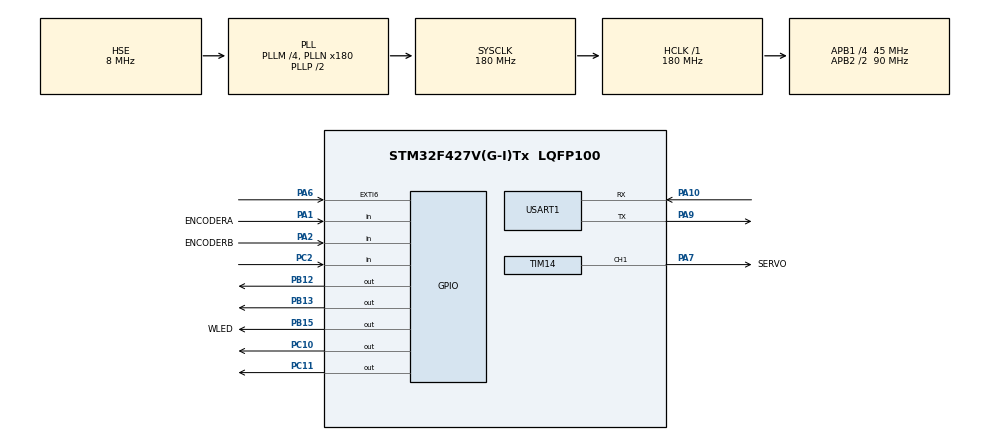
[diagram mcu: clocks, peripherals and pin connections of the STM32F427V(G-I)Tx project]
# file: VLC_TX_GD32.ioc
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Mcu.Family=STM32F4
Mcu.Name=STM32F427V(G-I)Tx
Mcu.Package=LQFP100
NVIC.EXTI9_5_IRQn=true\:2\:0\:true\:false\:true\:true\:true\:true
NVIC.PriorityGroup=NVIC_PRIORITYGROUP_4
NVIC.TIM4_IRQn=true\:0\:0\:false\:false\:true\:true\:true\:true
PA1.GPIO_Label=ENCODERA
PA1.Signal=GPIO_Input
PA10.Mode=Asynchronous
PA10.Signal=USART1_RX
PA2.GPIO_Label=ENCODERB
PA2.Signal=GPIO_Input
PA6.GPIO_ModeDefaultEXTI=GPIO_MODE_IT_RISING_FALLING
PA6.GPIO_PuPd=GPIO_PULLDOWN
PA6.Signal=GPXTI6
PA7.GPIO_Label=SERVO
PA7.Signal=S_TIM14_CH1
PA9.Mode=Asynchronous
PA9.Signal=USART1_TX
PB12.GPIO_PuPd=GPIO_PULLDOWN
PB12.Signal=GPIO_Output
PB13.GPIO_PuPd=GPIO_PULLDOWN
PB13.Signal=GPIO_Output
PB15.GPIO_Label=WLED
PB15.Signal=GPIO_Output
PC10.Signal=GPIO_Output
PC11.Signal=GPIO_Output
PC2.Signal=GPIO_Input
PH0/OSC_IN.Mode=HSE-External-Oscillator
PH0/OSC_IN.Signal=RCC_OSC_IN
PH1/OSC_OUT.Mode=HSE-External-Oscillator
PH1/OSC_OUT.Signal=RCC_OSC_OUT
ProjectManager.HeapSize=0x200
ProjectManager.StackSize=0x400
ProjectManager.TargetToolchain=STM32CubeIDE
RCC.48MHZClocksFreq_Value=90000000
RCC.AHBFreq_Value=180000000
RCC.APB1CLKDivider=RCC_HCLK_DIV4
RCC.APB1Freq_Value=45000000
RCC.APB1TimFreq_Value=90000000
RCC.APB2CLKDivider=RCC_HCLK_DIV2
RCC.APB2Freq_Value=90000000
RCC.APB2TimFreq_Value=180000000
RCC.CortexFreq_Value=180000000
RCC.HCLKFreq_Value=180000000
RCC.HSE_VALUE=8000000
RCC.HSI_VALUE=16000000
RCC.LSE_VALUE=32768
RCC.PLLM=4
RCC.PLLN=180
RCC.PLLSourceVirtual=RCC_PLLSOURCE_HSE
RCC.SYSCLKFreq_VALUE=180000000
RCC.SYSCLKSource=RCC_SYSCLKSOURCE_PLLCLK
RCC.VCOOutputFreq_Value=360000000
SH.S_TIM14_CH1.0=TIM14_CH1,PWM Generation1 CH1
TIM14.AutoReloadPreload=TIM_AUTORELOAD_PRELOAD_ENABLE
TIM14.Channel=TIM_CHANNEL_1
TIM14.Period=20000-1
TIM14.Prescaler=90-1
TIM3.AutoReloadPreload=TIM_AUTORELOAD_PRELOAD_ENABLE
TIM3.Prescaler=90-1
TIM4.AutoReloadPreload=TIM_AUTORELOAD_PRELOAD_ENABLE
TIM4.Period=80-1
TIM4.Prescaler=90-1
USART1.VirtualMode=VM_ASYNC
VP_TIM14_VS_ClockSourceINT.Mode=Enable_Timer
VP_TIM3_VS_ClockSourceINT.Mode=Internal
VP_TIM4_VS_ClockSourceINT.Mode=Internal
board=custom

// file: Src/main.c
/* USER CODE BEGIN Header */
/**
  ******************************************************************************
  * @file           : main.c
  * @brief          : Main program body
  ******************************************************************************
  * @attention
  *
  * Copyright (c) 2023 STMicroelectronics.
  * All rights reserved.
  *
  * This software is licensed under terms that can be found in the LICENSE file
  * in the root directory of this software component.
  * If no LICENSE file comes with this software, it is provided AS-IS.
  *
  ******************************************************************************
  */
/* USER CODE END Header */
#include "main.h"
#include "tim.h"
#include "usart.h"
#include "gpio.h"

/* USER CODE BEGIN Includes */
#include "vehicle_servo.h"
#include "vehicle_gpio_motor.h"
#include "VLC_timer.h"

/* USER CODE END Includes */

/* USER CODE BEGIN PV */
uint8_t DETECT_DATA_FLAG = 0;    // PD receives message = 1, else = 0;
uint8_t VLC_RX_DATA_BUFFER[RECEIVE_BYTES_LENGTH]; // Data buffer that stores the encoded data.
uint8_t received_data[FRAME_LENGTH];    // Original data after decoding.
/* USER CODE END PV */

void SystemClock_Config(void);

int main(void)
{

  /* MCU Configuration--------------------------------------------------------*/

  /* Reset of all peripherals, Initializes the Flash interface and the Systick. */
  HAL_Init();

  /* Configure the system clock */
  SystemClock_Config();

  /* Initialize all configured peripherals */
  MX_GPIO_Init();
  MX_USART1_UART_Init();
  MX_TIM14_Init();
  MX_TIM3_Init();
  MX_TIM4_Init();
  /* USER CODE BEGIN 2 */
    VLC_timer_init();
    vehicle_servo_init();
    vehicle_gpio_motor_init();
    HAL_GPIO_WritePin(GPIOB,GPIO_PIN_15,1);
    HAL_GPIO_WritePin(GPIOB,GPIO_PIN_12,1);
    HAL_GPIO_WritePin(GPIOB,GPIO_PIN_13,1);
    vehicle_servo_minus_45();
  /* USER CODE END 2 */

  /* Infinite loop */
  /* USER CODE BEGIN WHILE */
    while (1) {

        /**
         * The data receiving logic is in VLC_receiver.c
         */
        if(DETECT_DATA_FLAG){

            /** For debugging **/
            HAL_UART_Transmit(&huart1,received_data,FRAME_LENGTH,HAL_MAX_DELAY);
            HAL_UART_Transmit(&huart1,"\n",1,HAL_MAX_DELAY);

            /** Change car's state **/
            vehicle_gpio_motor_control(received_data[1]);

            /** Send the data to the upper GD32 **/
//            HAL_UART_Transmit_DMA(&huart4,received_data,FRAME_LENGTH);
            DETECT_DATA_FLAG=0;
        }

    /* USER CODE END WHILE */

    }
}

void SystemClock_Config(void)
{
  RCC_OscInitTypeDef RCC_OscInitStruct = {0};
  RCC_ClkInitTypeDef RCC_ClkInitStruct = {0};

  /** Configure the main internal regulator output voltage
  */
  __HAL_RCC_PWR_CLK_ENABLE();
  __HAL_PWR_VOLTAGESCALING_CONFIG(PWR_REGULATOR_VOLTAGE_SCALE1);

  /** Initializes the RCC Oscillators according to the specified parameters
  * in the RCC_OscInitTypeDef structure.
  */
  RCC_OscInitStruct.OscillatorType = RCC_OSCILLATORTYPE_HSE;
  RCC_OscInitStruct.HSEState = RCC_HSE_ON;
  RCC_OscInitStruct.PLL.PLLState = RCC_PLL_ON;
  RCC_OscInitStruct.PLL.PLLSource = RCC_PLLSOURCE_HSE;
  RCC_OscInitStruct.PLL.PLLM = 4;
  RCC_OscInitStruct.PLL.PLLN = 180;
  RCC_OscInitStruct.PLL.PLLP = RCC_PLLP_DIV2;
  RCC_OscInitStruct.PLL.PLLQ = 4;
  if (HAL_RCC_OscConfig(&RCC_OscInitStruct) != HAL_OK)
  {
    Error_Handler();
  }

  /** Activate the Over-Drive mode
  */
  if (HAL_PWREx_EnableOverDrive() != HAL_OK)
  {
    Error_Handler();
  }

  /** Initializes the CPU, AHB and APB buses clocks
  */
  RCC_ClkInitStruct.ClockType = RCC_CLOCKTYPE_HCLK|RCC_CLOCKTYPE_SYSCLK
                              |RCC_CLOCKTYPE_PCLK1|RCC_CLOCKTYPE_PCLK2;
  RCC_ClkInitStruct.SYSCLKSource = RCC_SYSCLKSOURCE_PLLCLK;
  RCC_ClkInitStruct.AHBCLKDivider = RCC_SYSCLK_DIV1;
  RCC_ClkInitStruct.APB1CLKDivider = RCC_HCLK_DIV4;
  RCC_ClkInitStruct.APB2CLKDivider = RCC_HCLK_DIV2;

  if (HAL_RCC_ClockConfig(&RCC_ClkInitStruct, FLASH_LATENCY_5) != HAL_OK)
  {
    Error_Handler();
  }
}

void Error_Handler(void)
{
  /* USER CODE BEGIN Error_Handler_Debug */
    /* User can add his own implementation to report the HAL error return state */
    __disable_irq();
    while (1) {
        HAL_UART_Transmit(&huart1,"Error\n",6,HAL_MAX_DELAY);
    }
  /* USER CODE END Error_Handler_Debug */
}
